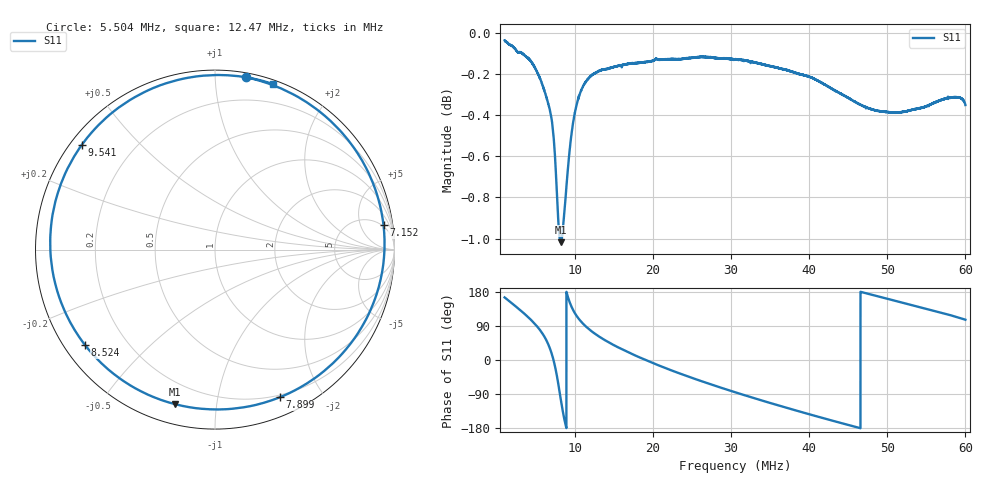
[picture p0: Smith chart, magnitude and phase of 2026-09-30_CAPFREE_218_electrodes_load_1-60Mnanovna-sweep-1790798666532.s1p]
! NanoVNA Web complex sweep
! Processing: unaveraged complex samples; linear segment spacing; no smoothing
# Hz S RI R 50
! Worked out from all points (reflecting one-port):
!   10100 points, 1 MHz to 60 MHz, reference 50 ohm
!   lowest |S11| = -1.0 dB at 8.197 MHz (marker M1), VSWR 17.07, Z = 4.67 - j38.4 ohm
!   phase of S11 starts at 165 deg and turns -779 deg over the sweep
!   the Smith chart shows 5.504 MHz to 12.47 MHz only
!   S11 on the Smith chart (normalised r, x): 5.504 MHz: 0.03, +1.20; 7.152 MHz: 4, +12; 7.899 MHz: 0.18, -1.52; 8.524 MHz: 0.06, -0.33; 9.541 MHz: 0.03, +0.35; 12.47 MHz: 0.03, +1.41
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1000000  -0.9626 0.2547
3342642  -0.5747 0.8041
4546094  -0.212 0.9599
5504182  0.1729 0.9597
6438902  0.6421 0.7182
6806948  0.8276 0.4819
7151626  0.939 0.1362
7531356  0.8446 -0.3828
7899402  0.3605 -0.823
8197344  -0.2239 -0.8607
8378446  -0.537 -0.713
8524496  -0.7233 -0.5333
8945120  -0.9182 0.0383
9541004  -0.7419 0.5839
1.003757e7  -0.5099 0.81
1.065098e7  -0.2447 0.9351
1.246785e7  0.3222 0.9229
1.575105e7  0.8406 0.5072
1.91803e7  0.9838 -0.0191
2.31295e7  0.8233 -0.5412
2.680411e7  0.4916 -0.8553
3.05021e7  0.0861 -0.9813
3.400146e7  -0.2915 -0.9384
3.78747e7  -0.6375 -0.7423
4.157853e7  -0.8602 -0.4534
4.525315e7  -0.9561 -0.1202
5.262575e7  -0.8092 0.5113
5.999836e7  -0.2695 0.9218
